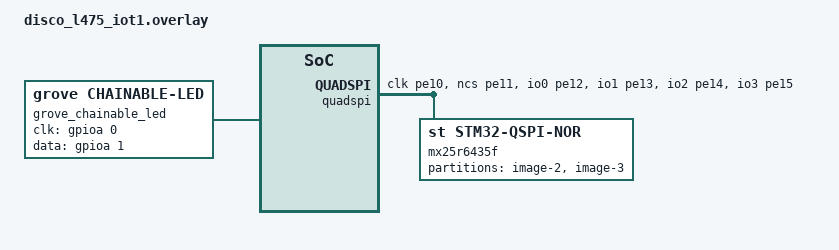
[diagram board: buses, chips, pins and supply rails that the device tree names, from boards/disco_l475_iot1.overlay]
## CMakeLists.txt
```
# SPDX-License-Identifier: Apache-2.0

cmake_minimum_required(VERSION 3.20.0)
find_package(Zephyr REQUIRED HINTS $ENV{ZEPHYR_BASE})
project(final_mobile)

target_sources(app PRIVATE 
    src/main.c
    src/ble_observers.c
    src/ble_sensordata_ext_ad.c
)

# Include directories
target_include_directories(app PRIVATE 
    ../../../include
    ./src
)
```

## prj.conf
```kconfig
CONFIG_GPIO=y
CONFIG_STDOUT_CONSOLE=y
CONFIG_PRINTK=y
CONFIG_THREAD_NAME=y 
CONFIG_SCHED_CPU_MASK=y
CONFIG_SHELL=y

CONFIG_BT=y
CONFIG_BT_OBSERVER=y

# # Enable Extended Scanning
CONFIG_BT_EXT_ADV=y
# Maximum Extended Scanning buffer size
CONFIG_BT_EXT_SCAN_BUF_SIZE=1650
# Zephyr Bluetooth LE Controller needs 16 event buffers to generate Extended
# Advertising Report for receiving the complete 1650 bytes of data
CONFIG_BT_BUF_EVT_RX_COUNT=16
# Set maximum scan data length for Extended Scanning in Bluetooth LE Controller
CONFIG_BT_CTLR_SCAN_DATA_LEN_MAX=1650


CONFIG_BT_EXT_ADV_MAX_ADV_SET=2
CONFIG_BT_USER_PHY_UPDATE=y
CONFIG_BT_CTLR_ADVANCED_FEATURES=y
# Enable Advertising Data chaining in Zephyr Bluetooth LE Controller
CONFIG_BT_CTLR_ADV_DATA_CHAIN=y
CONFIG_BT_CTLR_ADV_DATA_LEN_MAX=1650
# Increase Advertising PDU buffers to number of advertising sets times the
# number of chain PDUs per advertising set when using Zephyr Bluetooth LE
# Controller
CONFIG_BT_CTLR_ADV_DATA_BUF_MAX=2
# Increase Zephyr Bluetooth LE Controller Rx buffer to receive complete chain of PDUs
CONFIG_BT_CTLR_RX_BUFFERS=9
```

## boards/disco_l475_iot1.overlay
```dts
/{
    grove_chainable_led: grove_chainable_led {
        status = "okay";
        compatible = "grove,chainable-led";
        clk-gpios = <&gpioa 0 GPIO_ACTIVE_HIGH>;  
        data-gpios = <&gpioa 1 GPIO_ACTIVE_HIGH>; 
    };
};

// MCU BOOT
// Delete slot1 and slot2 to enable rearranging of paritions
/delete-node/ &slot1_partition;
/delete-node/ &slot2_partition;
&quadspi {
    pinctrl-0 = <&quadspi_clk_pe10 &quadspi_ncs_pe11
             &quadspi_bk1_io0_pe12 &quadspi_bk1_io1_pe13
             &quadspi_bk1_io2_pe14 &quadspi_bk1_io3_pe15>;
    pinctrl-names = "default";
    dmas = <&dma1 5 5 0x0000>;
    dma-names = "tx_rx";

    status = "okay";

    mx25r6435f: qspi-nor-flash@90000000 {
        compatible = "st,stm32-qspi-nor";
        reg = <0x90000000 DT_SIZE_M(8)>; /* 64 Mbits */
        qspi-max-frequency = <50000000>;
        status = "okay";

        partitions {
            compatible = "fixed-partitions";
            #address-cells = <1>;
            #size-cells = <1>;

            slot2_partition: partition@0 {
                label = "image-2";
                reg = <0x00000000 DT_SIZE_K(864)>;
            };

            slot3_partition: partition@d8000 {
                label = "image-3";
                reg = <0x000d8000 DT_SIZE_M(7)>;
            };
        };
    };
};

// Delete slot0 to fix partition overlap
/delete-node/ &slot0_partition;
&flash0 {
    partitions {
        compatible = "fixed-partitions";
        #address-cells = <1>;
        #size-cells = <1>;

        boot_partition: partition@0 {
            label = "mcuboot";
            reg = <0x0 DT_SIZE_K(64)>;
            read-only;
        };

        slot0_partition: partition@10000 {
            label = "image-0";
            reg = <0x10000 DT_SIZE_K(468)>;
        };

        // Add new slot1 to ensure we can use swap algorithm
        slot1_partition: partition@84000 {
            label = "image-1";
            reg = <0x84000 DT_SIZE_K(460)>;
        };

        storage_partition: partition@f8000 {
            label = "storage";
            reg = <0xf8000 DT_SIZE_K(32)>;
        };
    };
};
```

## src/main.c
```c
/*
* TODO: 
* - Add Handling for base node (change advertisement data to extended when close, fetch time update)
* - Merge with encoding from sensornode
*/

#include <zephyr/kernel.h>
#include <zephyr/sys/printk.h>
#include <zephyr/bluetooth/bluetooth.h>
#include <zephyr/bluetooth/hci.h>
#include "shared_vars.h"

#define SENSOR_ADV_INTERVAL_MS 1000
// #define DEVICE_NAME "MobileNode"

K_SEM_DEFINE(access_sensor_config_data, 1, 1); // Semaphore for synchronization

static uint8_t mobile_adv_payload_general[5] = {0};  // Room for mobile node data
static struct bt_data ad[] = {
    BT_DATA_BYTES(BT_DATA_FLAGS, (BT_LE_AD_GENERAL | BT_LE_AD_NO_BREDR)),
	BT_DATA(BT_DATA_NAME_COMPLETE, DEVICE_NAME, sizeof(DEVICE_NAME) - 1),
    BT_DATA(BT_DATA_MANUFACTURER_DATA, mobile_adv_payload_general, sizeof(mobile_adv_payload_general)),
};

// Function Prototypes
int ble_observers_start(void);
int ble_ext_adv_sensordata_start(void);

// Global Variables
static struct k_timer second_timer;

// static uint32_t current_time = 0;
// uint8_t flags = 0x10; // Polling Rate (hrs) / Disable Sensors

void timer_handler(struct k_timer *dummy) {
    
	k_sem_take(&access_sensor_config_data, K_FOREVER);
	current_time += 1;
	// Wraparound once max value reached
	if (current_time >= 0xFFFFFFFF) {
        current_time = 1;  // Reset to 1 to avoid zero timestamp
    }
	k_sem_give(&access_sensor_config_data); 
}

static void update_mobile_adv_payload_general(void) {
	
	k_sem_take(&access_sensor_config_data, K_FOREVER); // Wait for access to the timer and flags
	mobile_adv_payload_general[0] = (current_time >> 0) & 0xFF;   // Byte 0 (LSB)
    mobile_adv_payload_general[1] = (current_time >> 8) & 0xFF;   
    mobile_adv_payload_general[2] = (current_time >> 16) & 0xFF;  
    mobile_adv_payload_general[3] = (current_time >> 24) & 0xFF;
	mobile_adv_payload_general[4] = flags;  
	k_sem_give(&access_sensor_config_data); // Allow access to the timer and flags
	// Print updated count value and flags
	printk("[MOBILE-LOG] Adv Payload Updated: Time: %u, Flags: 0x%02X\n", current_time, flags);
}

int main(void) {
	
	int err;
	printk("[MOBILE-LOG] Starting MobileNode...\n");

	k_timer_init(&second_timer, timer_handler, NULL);
    k_timer_start(&second_timer, K_SECONDS(1), K_SECONDS(1));

	// Initialise the Bluetooth Subsystem 
	err = bt_enable(NULL);
	if (err) {
		printk("[MOBILE-ERR] Bluetooth init failed (err %d).\n", err);
		return -1;
	}

	// Start Extended Advertising Observer
	(void) ble_observers_start();

	// Start Extended Advertising
	(void) ble_ext_adv_sensordata_start();

	// Begin legacy advertising Timestamp and flags
	err = bt_le_adv_start(
		BT_LE_ADV_PARAM(
			BT_LE_ADV_OPT_USE_IDENTITY,
			BT_GAP_ADV_FAST_INT_MIN_2,
			BT_GAP_ADV_FAST_INT_MAX_2,
			NULL),
		ad, ARRAY_SIZE(ad), NULL, 0);

    if (err) {
        printk("[MOBILE-ERR] Advertising failed to start (err %d).\n", err);
        return -1;
    }

	while (1) {
        update_mobile_adv_payload_general();
        bt_le_adv_update_data(ad, ARRAY_SIZE(ad), NULL, 0);
        k_sleep(K_MSEC(SENSOR_ADV_INTERVAL_MS));
    }

	printk("Exiting %s thread.\n", __func__);

	return 0;
}
```

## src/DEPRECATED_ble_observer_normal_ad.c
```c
// #include <zephyr/kernel.h>
// #include <zephyr/sys/printk.h>
// #include <zephyr/bluetooth/bluetooth.h>
// #include <zephyr/bluetooth/hci.h>
// #include <zephyr/bluetooth/uuid.h>
// #include <zephyr/bluetooth/gap.h>
// #include <zephyr/logging/log.h>
// #include <shared_vars.h>

// // #define DEVICE_NAME "SensorNode"
// // #define SENSOR_ADV_INTERVAL_MS 1000
// // #define NAME_LEN 30
// #define BASENODE_MAC "C5:84:32:CA:99:CA (random)" // MAC address of BaseNode

// // uint32_t current_time = 0; // Current time in s
// // uint32_t previous_time = 0; 
// // uint64_t current_time_ms = 0;
// // uint8_t config_set_externally = 0;
// // uint8_t polling_flag = 1; // Determines poll rate, ignored for now 
// uint32_t current_time = 0;
// uint8_t flags = 0x10;

// static bool parse_ad_data(struct bt_data *data, void *user_data) {

//     if (data->type == BT_DATA_MANUFACTURER_DATA && data->data_len >= 5) { // 4 bytes for time + 1 byte for flags

//         k_sem_take(&access_sensor_config_data, K_FOREVER); 

//         const uint8_t *payload = data->data;
//         // Based on the above, extract current_time_ms
//         current_time = (payload[0] | (payload[1] << 8) | (payload[2] << 16) | (payload[3] << 24));
//         // Extract flags from uint8_t
//         flags = payload[4];
        
//         k_sem_give(&access_sensor_config_data);
//     }
//     return true;
// }

// static void device_found(const bt_addr_le_t *addr, int8_t rssi, uint8_t type, struct net_buf_simple *ad) {
	
//     printk("[MOBILE-LOG] Device found: %s, RSSI: %d, Type: %d\n", bt_addr_le_str(addr), rssi, type);
//     if (rssi < RSSI_THRESHOLD) {
// 		return; // Ignore weak signals
// 	}
	
// 	char addr_str[BT_ADDR_LE_STR_LEN];
// 	bt_addr_le_to_str(addr, addr_str, sizeof(addr_str));
	
//     if (strcmp(addr_str, BASENODE_MAC) == 0) {
//         bt_data_parse(ad, parse_ad_data, NULL);
//         printk("[MOBILE-LOG] Updated from BaseNode. Time: %u, Flags: 0x%02X\n", current_time, flags);
//         //k_sleep(K_MSEC(1000));
//     }
// }

// int basenode_observer_start(void) {
//     int err;
   
//     // For Normal Observing
//     struct bt_le_scan_param scan_param = {
// 		.type       = BT_LE_SCAN_TYPE_PASSIVE,
// 		.interval   = BT_GAP_SCAN_FAST_INTERVAL,
// 		.window     = BT_GAP_SCAN_FAST_WINDOW,
// 	};

//     err = bt_le_scan_start(&scan_param, device_found);
// 	if (err) {
// 		printk("Start scanning failed (err %d)\n", err);
// 		return err;
// 	}
// 	printk("Started scanning...\n");
//     return 0;
// }
```

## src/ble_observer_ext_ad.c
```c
#include <zephyr/sys/printk.h>
#include <zephyr/bluetooth/bluetooth.h>
#include <zephyr/bluetooth/hci.h>
#include <string.h>
#include "shared_vars.h"

typedef struct {
	const char *mac_addr;
	bool collected;
} sensor_nodes_t;

sensor_nodes_t sensornodes_status[MAX_SENSOR_NODES] = {
	{"C5:84:32:CA:99:CA (random)", false}
	// Add more MACs here
};

// EXTERN Variables
uint8_t databuffer[1650] = {0}; // Buffer to hold advertisement data
uint16_t databuffer_loc = 0;

static bool parse_ad_data(struct bt_data *data, void *user_data) {

    if (data->type == BT_DATA_MANUFACTURER_DATA && data->data_len >= 5) {
        const uint8_t *payload = data->data;

		printk("[MOBILE-DEBUG] Raw AD data: ");
		for (int i = 0; i < data->data_len; i++) {
			printk("%02X ", payload[i]);

			if (databuffer_loc < sizeof(databuffer)) {
				databuffer[databuffer_loc++] = payload[i];
			} else {
				printk("\n[MOBILE-ERR] Data buffer overflow!\n");
				return false; 
			}
		}
		printk("\n");
    }

	printk("[MOBILE-LOG] Parsed SensorData\n");
    return true;
}

static void scan_recv(const struct bt_le_scan_recv_info *info, struct net_buf_simple *buf) {
	
	if (info->rssi < RSSI_THRESHOLD) {
		return; // Ignore weak signals
	}
	
	char le_addr[BT_ADDR_LE_STR_LEN];
	bt_addr_le_to_str(info->addr, le_addr, sizeof(le_addr));
	printk("[MOBILE-LOG]: DEVICE %s, RSSI: %d, Data len: %u\n", le_addr, info->rssi, buf->len);

	for (uint8_t i = 0; i < MAX_SENSOR_NODES; i++) {
		// Check if the sensor node is of interest and not yet collected
		if (!sensornodes_status[i].collected && strcmp(le_addr, sensornodes_status[i].mac_addr) == 0) { 
			bt_data_parse(buf, parse_ad_data, NULL);
			sensornodes_status[i].collected = true;  // Mark as collected
			//k_sleep(K_MSEC(1000)); // Optional pause
			break; // Stop loop once matched
		}
	}

}

static struct bt_le_scan_cb scan_callbacks = {
	.recv = scan_recv,
};


int sensornode_observer_start(void) {

	struct bt_le_scan_param scan_param = {
		.type       = BT_LE_SCAN_TYPE_PASSIVE,
		//.options    = BT_LE_SCAN_OPT_FILTER_DUPLICATE,
		.interval   = BT_GAP_SCAN_FAST_INTERVAL,
		.window     = BT_GAP_SCAN_FAST_WINDOW,
	};

	int err;
	// Only applies for BLE using extended advertising
	bt_le_scan_cb_register(&scan_callbacks);
	printk("[MOBILE-LOG] Registered scan callbacks\n");

	err = bt_le_scan_start(&scan_param, NULL); // do nothing if legacy ble device found (previously calls device_found)
	if (err) {
		printk("[MOBILE-ERR] Start scanning failed (err %d)\n", err);
		return err;
	}
	printk("[MOBILE-LOG] Started scanning...\n");

	return 0;
}
```

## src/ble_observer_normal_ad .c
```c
#include <zephyr/kernel.h>
#include <zephyr/sys/printk.h>
#include <zephyr/bluetooth/bluetooth.h>
#include <zephyr/bluetooth/hci.h>
#include <zephyr/bluetooth/uuid.h>
#include <zephyr/bluetooth/gap.h>
#include <zephyr/logging/log.h>
#include <shared_vars.h>

// #define DEVICE_NAME "SensorNode"
// #define SENSOR_ADV_INTERVAL_MS 1000
// #define NAME_LEN 30
#define RSSI_THRESHOLD -50 // RSSI threshold for filtering devices
// #define NODE_OF_INTEREST "DC:B1:BE:10:38:1E (random)" // MAC address of Mobile Node

// uint32_t current_time = 0; // Current time in s
// uint32_t previous_time = 0; 
// uint64_t current_time_ms = 0;
// uint8_t config_set_externally = 0;
// uint8_t polling_flag = 1; // Determines poll rate, ignored for now 


static bool parse_ad_data(struct bt_data *data, void *user_data) {

    if (data->type == BT_DATA_MANUFACTURER_DATA && data->data_len >= 5) { // 4 bytes for time + 1 byte for flags

        k_sem_take(&config_data, K_FOREVER); 

        const uint8_t *payload = data->data;
        // Based on the above, extract current_time_ms
        current_time = (payload[0] | (payload[1] << 8) | (payload[2] << 16) | (payload[3] << 24));
        // Extract flags from uint8_t
        polling_flag = payload[4];

        config_set_externally = 1;

        k_sem_give(&config_data);
    }
    return true;
}

static void device_found(const bt_addr_le_t *addr, int8_t rssi, uint8_t type, struct net_buf_simple *ad) {
	
    if (rssi < RSSI_THRESHOLD) {
		return; // Ignore weak signals
	}
	
	char addr_str[BT_ADDR_LE_STR_LEN];

	bt_addr_le_to_str(addr, addr_str, sizeof(addr_str));
	// printk("Device found: %s (RSSI %d), type %u, AD data len %u\n",
	//        addr_str, rssi, type, ad->len);

	// Parse the advertisement data if the device is of interest
    if (strcmp(addr_str, NODE_OF_INTEREST) == 0) {
        //printk("Found target device: %s\n", addr_str);
        bt_data_parse(ad, parse_ad_data, NULL);
        k_sleep(K_MSEC(1000));
        //return;
    }
}

int main(void) {
    int err;
   
    // For Normal Observing
    struct bt_le_scan_param scan_param = {
		.type       = BT_LE_SCAN_TYPE_PASSIVE,
		.interval   = BT_GAP_SCAN_FAST_INTERVAL,
		.window     = BT_GAP_SCAN_FAST_WINDOW,
	};

    err = bt_le_scan_start(&scan_param, device_found);
	if (err) {
		printk("Start scanning failed (err %d)\n", err);
		return err;
	}
	printk("Started scanning...\n");
}
```

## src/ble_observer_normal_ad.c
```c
#include <zephyr/kernel.h>
#include <zephyr/sys/printk.h>
#include <zephyr/bluetooth/bluetooth.h>
#include <zephyr/bluetooth/hci.h>
#include <zephyr/bluetooth/uuid.h>
#include <zephyr/bluetooth/gap.h>
#include <zephyr/logging/log.h>
#include <shared_vars.h>

// #define DEVICE_NAME "SensorNode"
// #define SENSOR_ADV_INTERVAL_MS 1000
// #define NAME_LEN 30
#define BASENODE_MAC "DC:B1:BE:10:38:1E (random)" // MAC address of BaseNode

// uint32_t current_time = 0; // Current time in s
// uint32_t previous_time = 0; 
// uint64_t current_time_ms = 0;
// uint8_t config_set_externally = 0;
// uint8_t polling_flag = 1; // Determines poll rate, ignored for now 
uint32_t current_time = 0;
uint8_t flags = 0x10;

static bool parse_ad_data(struct bt_data *data, void *user_data) {

    if (data->type == BT_DATA_MANUFACTURER_DATA && data->data_len >= 5) { // 4 bytes for time + 1 byte for flags

        k_sem_take(&access_sensor_config_data, K_FOREVER); 

        const uint8_t *payload = data->data;
        // Based on the above, extract current_time_ms
        current_time = (payload[0] | (payload[1] << 8) | (payload[2] << 16) | (payload[3] << 24));
        // Extract flags from uint8_t
        flags = payload[4];
        
        k_sem_give(&access_sensor_config_data);
    }
    return true;
}

static void device_found(const bt_addr_le_t *addr, int8_t rssi, uint8_t type, struct net_buf_simple *ad) {
	
    if (rssi < RSSI_THRESHOLD) {
		return; // Ignore weak signals
	}
	
	char addr_str[BT_ADDR_LE_STR_LEN];
	bt_addr_le_to_str(addr, addr_str, sizeof(addr_str));
	
    if (strcmp(addr_str, BASENODE_MAC) == 0) {
        bt_data_parse(ad, parse_ad_data, NULL);
        printk("[MOBILE-LOG] Updated from BaseNode. Time: %u, Flags: 0x%02X\n", current_time, flags);
        //k_sleep(K_MSEC(1000));
    }
}

int basenode_observer_start(void) {
    int err;
   
    // For Normal Observing
    struct bt_le_scan_param scan_param = {
		.type       = BT_LE_SCAN_TYPE_PASSIVE,
		.interval   = BT_GAP_SCAN_FAST_INTERVAL,
		.window     = BT_GAP_SCAN_FAST_WINDOW,
	};

    err = bt_le_scan_start(&scan_param, device_found);
	if (err) {
		printk("Start scanning failed (err %d)\n", err);
		return err;
	}
	printk("Started scanning...\n");
    return 0;
}
```

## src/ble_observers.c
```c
#include <zephyr/kernel.h>
#include <zephyr/sys/printk.h>
#include <zephyr/bluetooth/bluetooth.h>
#include <zephyr/bluetooth/hci.h>
#include <zephyr/bluetooth/uuid.h>
#include <zephyr/bluetooth/gap.h>
#include <zephyr/logging/log.h>
#include <shared_vars.h>
#include <string.h>

// #define BASENODE_MAC "DC:E9:F5:83:72:9C (random)" // MAC address of BaseNode
#define BASENODE_MAC "F9:E3:72:81:45:61 (random)" // MAC address of BaseNode
#define MIN_INTERVAL_FOR_UPDATES 10

typedef struct {
	const char *mac_addr;
	bool collected;
} sensor_nodes_t;

sensor_nodes_t sensornodes_status[MAX_SENSOR_NODES] = {
	// {"C5:84:32:CA:99:CA (random)", false}
	// {"E4:41:28:44:C6:DE (random)", false}
	{"C5:84:32:CA:99:CA (random)", false}
	// Add more MACs here
};

// EXTERN Variables
uint8_t databuffer[1650] = {0}; // Buffer to hold advertisement data
uint16_t databuffer_loc = 0;
uint32_t current_time = 0;
uint8_t flags = 0x10;

static bool parse_config_data_from_basenode_ad(struct bt_data *data, void *user_data) {

    if (data->type == BT_DATA_MANUFACTURER_DATA && data->data_len >= 5) { // 4 bytes for time + 1 byte for flags

        k_sem_take(&access_sensor_config_data, K_FOREVER); 

        const uint8_t *payload = data->data;
		 // Based on the above, extract current_time_ms
        uint32_t newtime = (payload[0] | (payload[1] << 8) | (payload[2] << 16) | (payload[3] << 24));
        int32_t time_delta = (int32_t)(newtime - current_time);

        if (time_delta > MIN_INTERVAL_FOR_UPDATES || time_delta < -MIN_INTERVAL_FOR_UPDATES || flags != payload[4]) {
           	printk("[MOBILE-LOG] Updated from BaseNode. Time: %u, Flags: 0x%02X\n", current_time, flags);
            current_time = newtime;
            flags = payload[4];
        }
        
        k_sem_give(&access_sensor_config_data);
    }
    return true;
}

static void device_found(const bt_addr_le_t *addr, int8_t rssi, uint8_t type, struct net_buf_simple *ad) {
	
    if (rssi < RSSI_THRESHOLD || type == BT_GAP_ADV_TYPE_EXT_ADV) {
		return; // Ignore weak signals and extended advertising
	}
	
	char addr_str[BT_ADDR_LE_STR_LEN];
	bt_addr_le_to_str(addr, addr_str, sizeof(addr_str));
	
    if (strcmp(addr_str, BASENODE_MAC) == 0) {
        bt_data_parse(ad, parse_config_data_from_basenode_ad, NULL);
    }
}

static bool parse_ad_data(struct bt_data *data, void *user_data) {

	//k_sem_take(&wait_for_ext_adv_update_sem, K_FOREVER); // Wait for semaphore to ensure data is ready

    if (data->type == BT_DATA_MANUFACTURER_DATA && data->data_len >= 5) {
        const uint8_t *payload = data->data;

		printk("[MOBILE-DEBUG] Raw AD data: \n");
		for (int i = 0; i < data->data_len; i++) {
			printk("%02X ", payload[i]);

			if (databuffer_loc < sizeof(databuffer)) {
				databuffer[databuffer_loc++] = payload[i];
			} else {
				printk("\n[MOBILE-ERR] Data buffer overflow!\n");
				return false; 
			}
		}

		printk("[MOBILE-LOG] Parsed SensorData\n");
		//k_sem_give(&adv_data_ready_sem); // Signal that new data is ready
    }
    return true;
}

static void scan_recv(const struct bt_le_scan_recv_info *info, struct net_buf_simple *buf) {
	
	if (info->rssi < RSSI_THRESHOLD) {
		return; // Ignore weak signals
	}
	
	char le_addr[BT_ADDR_LE_STR_LEN];
	bt_addr_le_to_str(info->addr, le_addr, sizeof(le_addr));
	printk("[MOBILE-LOG]: DEVICE %s, RSSI: %d, Data len: %u\n", le_addr, info->rssi, buf->len);

	if (!(info->adv_props & BT_GAP_ADV_PROP_EXT_ADV)) {
		return; // Skip non-extended (legacy) advertising
	}

	for (uint8_t i = 0; i < MAX_SENSOR_NODES; i++) {
		// Check if the sensor node is of interest and not yet collected
		if (!sensornodes_status[i].collected && strcmp(le_addr, sensornodes_status[i].mac_addr) == 0) { 
			bt_data_parse(buf, parse_ad_data, NULL);
			sensornodes_status[i].collected = true;  // Mark as collected
			k_sem_give(&adv_data_ready_sem); // Signal that new data is ready
			//k_sleep(K_MSEC(1000)); // Optional pause
			break; // Stop loop once matched
		}
	}

}

static struct bt_le_scan_cb scan_callbacks = {
	.recv = scan_recv,
};

int ble_observers_start(void) {

	struct bt_le_scan_param scan_param = {
		.type       = BT_LE_SCAN_TYPE_PASSIVE,
		//.options    = BT_LE_SCAN_OPT_FILTER_DUPLICATE,
		.interval   = BT_GAP_SCAN_FAST_INTERVAL,
		.window     = BT_GAP_SCAN_FAST_WINDOW,
	};

	int err;
	// Only applies for BLE using extended advertising
	bt_le_scan_cb_register(&scan_callbacks);
	printk("[MOBILE-LOG] Registered scan callbacks\n");

	err = bt_le_scan_start(&scan_param, device_found); 
	if (err) {
		printk("[MOBILE-ERR] Start scanning failed (err %d)\n", err);
		return err;
	}
	printk("[MOBILE-LOG] Started scanning...\n");

	return 0;
}
```

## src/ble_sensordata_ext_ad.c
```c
#include <zephyr/kernel.h>
#include <zephyr/sys/printk.h>
#include <zephyr/bluetooth/bluetooth.h>
#include <zephyr/bluetooth/hci.h>
#include <zephyr/bluetooth/uuid.h>
#include <zephyr/bluetooth/gap.h>
#include <shared_vars.h>

#define ADV_THREAD_STACK_SIZE 1024
#define ADV_THREAD_PRIORITY 5
#define ADV_PAYLOAD_BUF_SIZE 240 

// TEST
#define SENSOR_DATA_START 12
#define SENSOR_DATA_SIZE 12
#define SENSOR_PACKETS_PER_PAYLOAD 19
#define TIMESTAMP_OFFSET 0
#define MEAS_ID_OFFSET 4
#define MOISTURE_OFFSET 6
#define TEMP_OFFSET 8
#define PRESSURE_OFFSET 10
#define PRESSURE_BASE 100000

static struct k_thread adv_thread_data;

K_THREAD_STACK_DEFINE(adv_thread_stack, ADV_THREAD_STACK_SIZE);
K_SEM_DEFINE(adv_data_ready_sem, 0, 1);
K_SEM_DEFINE(wait_for_ext_adv_update_sem, 1, 1);

// Prototypes
void print_converted_data(uint8_t*);
void update_adv_payload(void);

// Custom sensor data payload, length + 5 bytes < 255
__aligned(4) static uint8_t adv_payload[ADV_PAYLOAD_BUF_SIZE] = {0};  
__aligned(4) static uint8_t adv_payload_two[ADV_PAYLOAD_BUF_SIZE] = {0}; // For future use
__aligned(4) static uint8_t adv_payload_three[ADV_PAYLOAD_BUF_SIZE] = {0};

static struct bt_data ext_ad[] = {
    BT_DATA_BYTES(BT_DATA_FLAGS, (BT_LE_AD_GENERAL | BT_LE_AD_NO_BREDR)),
    BT_DATA(BT_DATA_NAME_COMPLETE, DEVICE_NAME, sizeof(DEVICE_NAME) - 1),
    BT_DATA(BT_DATA_MANUFACTURER_DATA, adv_payload, sizeof(adv_payload)),
    BT_DATA(BT_DATA_MANUFACTURER_DATA, adv_payload_two, sizeof(adv_payload_two)),
    BT_DATA(BT_DATA_MANUFACTURER_DATA, adv_payload_three, sizeof(adv_payload_three)),
};

static struct bt_le_ext_adv *adv_set;
uint16_t greatestReceivedMeasId = 0;

void update_adv_payload(void) {
    
    // Remaining bytes can remain zero
    for (int i = 0; i < ADV_PAYLOAD_BUF_SIZE; i++) {
        adv_payload[i] = databuffer[i];
    }
    for (int i = 0; i < ADV_PAYLOAD_BUF_SIZE; i++) {
        adv_payload_two[i] = databuffer[i + ADV_PAYLOAD_BUF_SIZE];; // Example data
    }
    for (int i = 0; i < ADV_PAYLOAD_BUF_SIZE; i++) {
        adv_payload_three[i] = databuffer[i + (2 * ADV_PAYLOAD_BUF_SIZE)];; // Example data
    }
    // REPEAT 2 x

    printk("[MOBILENODE-LOG] EXT AD BUF POST UPDATE...\n");
    // print out adv_payload 1, 2, 3
    for (int i = 0; i < ADV_PAYLOAD_BUF_SIZE; i++) {
        printk("%02X ", adv_payload[i]);
    }
    for (int i = 0; i < ADV_PAYLOAD_BUF_SIZE; i++) {
        printk("%02X ", adv_payload_two[i]);
    }
    for (int i = 0; i < ADV_PAYLOAD_BUF_SIZE; i++) {
        printk("%02X ", adv_payload_three[i]);
    }
    printk("\n\n");

    print_converted_data(databuffer);
    
    printk("[MOBILENODE-LOG] Added data to Payload: \n");
}

void print_converted_data(uint8_t *payload) {
    // Print the converted data from databuffer
    for (int i = 0; i < SENSOR_PACKETS_PER_PAYLOAD; i++) {
        int pos = SENSOR_DATA_START + i * SENSOR_DATA_SIZE;

        uint32_t timestamp = *((uint32_t *) (void *) &payload[pos]);
        uint16_t measId = *((uint16_t *) (void *) &payload[pos + MEAS_ID_OFFSET]);
        uint16_t moisture = *((uint16_t *) (void *) &payload[pos + MOISTURE_OFFSET]);
        uint16_t temp = *((uint16_t *) (void *) &payload[pos + TEMP_OFFSET]);
        uint32_t pressure = *((int16_t *) (void *) &payload[pos + PRESSURE_OFFSET]) + PRESSURE_BASE;

        printk("[MOBILENODE-LOG] Sensor Data %d: Timestamp: %u, MeasId: %u, Moisture: %u, Temp: %u, Pressure: %u\n",
            i, timestamp, measId, moisture, temp, pressure);
    }
}

void adv_update_thread(void *a, void *b, void *c) {
    
    int err;

    while (1) {
        k_sem_take(&adv_data_ready_sem, K_FOREVER);
        printk("[MOBILENODE-THREAD] New data ready, updating advertising...\n");
        // Stop advertising before changing payload
        bt_le_ext_adv_stop(adv_set);
        k_sleep(K_MSEC(50)); // Short delay

        update_adv_payload();

        err = bt_le_ext_adv_set_data(adv_set, ext_ad, ARRAY_SIZE(ext_ad), NULL, 0);
        if (err) {
            printk("Failed to update extended adv data (err %d)\n", err);
            continue;
        }
        err = bt_le_ext_adv_start(adv_set, BT_LE_EXT_ADV_START_DEFAULT);
        if (err) {
            printk("Failed to restart extended advertising (err %d)\n", err);
            continue;
        }

        printk("[MOBILENODE-THREAD] Advertising updated\n");

        //k_sem_give(&wait_for_ext_adv_update_sem); // Signal that update is done
    }
}

int ble_ext_adv_sensordata_start(void) {
    int err;
    // For Extended Advertising
    struct bt_le_adv_param adv_params = BT_LE_ADV_PARAM_INIT(
        BT_LE_ADV_OPT_EXT_ADV | BT_LE_ADV_OPT_USE_IDENTITY,
        BT_GAP_ADV_FAST_INT_MIN_2,
        BT_GAP_ADV_FAST_INT_MAX_2,
        NULL);
    
    printk("[SENSORNODE-LOG] Starting SensorNode BLE extended advertiser\n");

    //update_adv_payload();

    err = bt_le_ext_adv_create(&adv_params, NULL, &adv_set);
    if (err) {
        printk("Failed to create extended advertiser (err %d)\n", err);
        return -1;
    }

    err = bt_le_ext_adv_set_data(adv_set, ext_ad, ARRAY_SIZE(ext_ad), NULL, 0);
    if (err) {
        printk("Failed to set extended adv data (err %d)\n", err);
        return -1;
    }

    err = bt_le_ext_adv_start(adv_set, BT_LE_EXT_ADV_START_DEFAULT);
    if (err) {
        printk("Failed to start extended advertising (err %d)\n", err);
        return -1;
    }

    printk("[SENSORNODE-LOG] Extended advertising started\n");

    // create a thread to update the advertisement data periodically

    k_thread_create(&adv_thread_data, adv_thread_stack,
        K_THREAD_STACK_SIZEOF(adv_thread_stack),
        adv_update_thread,
        NULL, NULL, NULL,
        ADV_THREAD_PRIORITY, 0, K_NO_WAIT);

    return 0;
}
```

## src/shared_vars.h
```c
// shared_vars.h
#ifndef SHARED_VARS_H
#define SHARED_VARS_H

#define NAME_LEN 30
#define RSSI_THRESHOLD -50 // RSSI threshold for filtering devices
#define MAX_SENSOR_NODES 5 // Maximum number of SensorNodes to track

#define DEVICE_NAME "MobileNode"

// From main.c, ble_observers.c
extern uint8_t databuffer[1650];
extern uint16_t databuffer_loc;
extern uint32_t current_time; // Current time in seconds
extern uint8_t flags; // Polling Rate (hrs) / Disable Sensors
extern struct k_sem access_sensor_config_data; // Semaphore for time, flags

// From main.c, ble_sensordata_ext_ad.c
extern struct k_sem adv_data_ready_sem; // Semaphore for time, flags
extern struct k_sem wait_for_ext_adv_update_sem;

#endif
```
